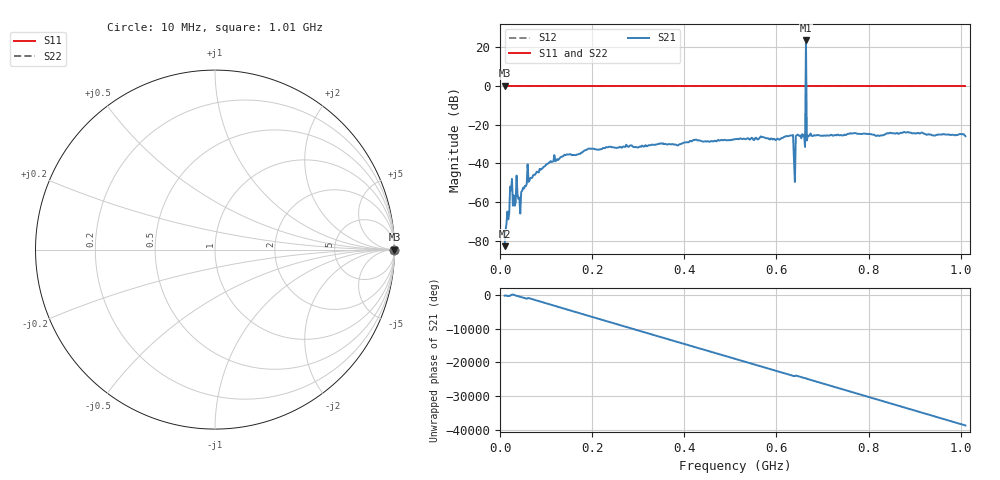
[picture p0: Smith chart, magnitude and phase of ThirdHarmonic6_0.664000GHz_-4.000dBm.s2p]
! 8/15/2025 10:04:16 PM
! C:\ANRITSUVNA\TEMP\TEMP.S2P
! CHANNEL.1
! TR.MEASUREMENT
! RAW.DATA
! RF.CORRECTION.OFF
! AVERAGING.OFF
! IF.BANDWIDTH: 5KHZ
! SWEEPTYPE:  FREQ.SWEEP(Linear)
! Reference Plane Port Info
! PORT:  PORT1  PORT2
! DISTANCE:  0  m  0  m
! TIME:  0  s  0  s
! PHASE.OFFSET:  0  deg.  0  deg.
! LOSS:  0  dB  0  dB
! REF.LOSS:  0  dB  0  dB
! REF.FREQ:  0  Hz  0  Hz
! Power Info
! POWER:  -20  dBm  -20  dBm
! EFF.POWER:  -20  dBm  -20  dBm
! SOURCE.ATTEN:  0  dB  0  dB
! TEST.ATTEN:  0  dB  0  dB
# GHZ S RI R 50.0
! FREQ.GHZ  S11RE  S11IM  S21RE  S21IM  S12RE  S12IM  S22RE  S22IM
!; PortSelection: Port_12
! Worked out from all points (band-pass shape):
!   501 points, 10 MHz to 1.01 GHz, reference 50 ohm
!   highest |S21| = 23.35 dB at 664 MHz (marker M1); lowest = -82.7 dB at 10 MHz (marker M2)
!   |S21| within 3 dB of the highest: 663.8907 MHz to 664.1164 MHz (225.7 kHz wide, 0.034 % of centre)
!   lowest |S11| = 0.0 dB at 10 MHz (marker M3)
!   |S11| at or under -10 dB: nowhere
!   |S22| runs from 0.0 to 0.0 dB; largest |S21 - S12| = 16
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0.01  1 0  -6.71e-05 -3.01e-05  1 0  1 0
0.022  1 0  -0.00217 -0.00129  1 0  1 0
0.026  1 0  -0.00319 0.00237  1 0  1 0
0.042  1 0  -1.3e-05 -0.00131  1 0  1 0
0.064  1 0  -0.00254 0.00255  1 0  1 0
0.114  1 0  -0.00291 -0.0106  1 0  1 0
0.178  1 0  -0.0185 -0.00393  1 0  1 0
0.344  1 0  0.0304 -0.00797  1 0  1 0
0.51  1 0  -0.0384 0.0169  1 0  1 0
0.632  1 0  0.0217 -0.048  1 0  1 0
0.636  1 0  -0.0368 0.0393  1 0  1 0
0.64  1 0  0.00113 0.00311  1 0  1 0
0.642  1 0  -0.0198 -0.0466  1 0  1 0
0.646  1 0  0.00305 0.0552  1 0  1 0
0.658  1 0  0.0416 -0.0296  1 0  1 0
0.66  1 0  -0.0231 -0.0475  1 0  1 0
0.664  1 0  -14.69 0.5383  1 0  1 0
0.668  1 0  0.00695 -0.0515  1 0  1 0
0.67  1 0  -0.0495 -0.016  1 0  1 0
0.678  1 0  -0.0262 -0.0432  1 0  1 0
0.844  1 0  0.0473 0.0356  1 0  1 0
1.01  1 0  -0.0498 -0.0056  1 0  1 0
